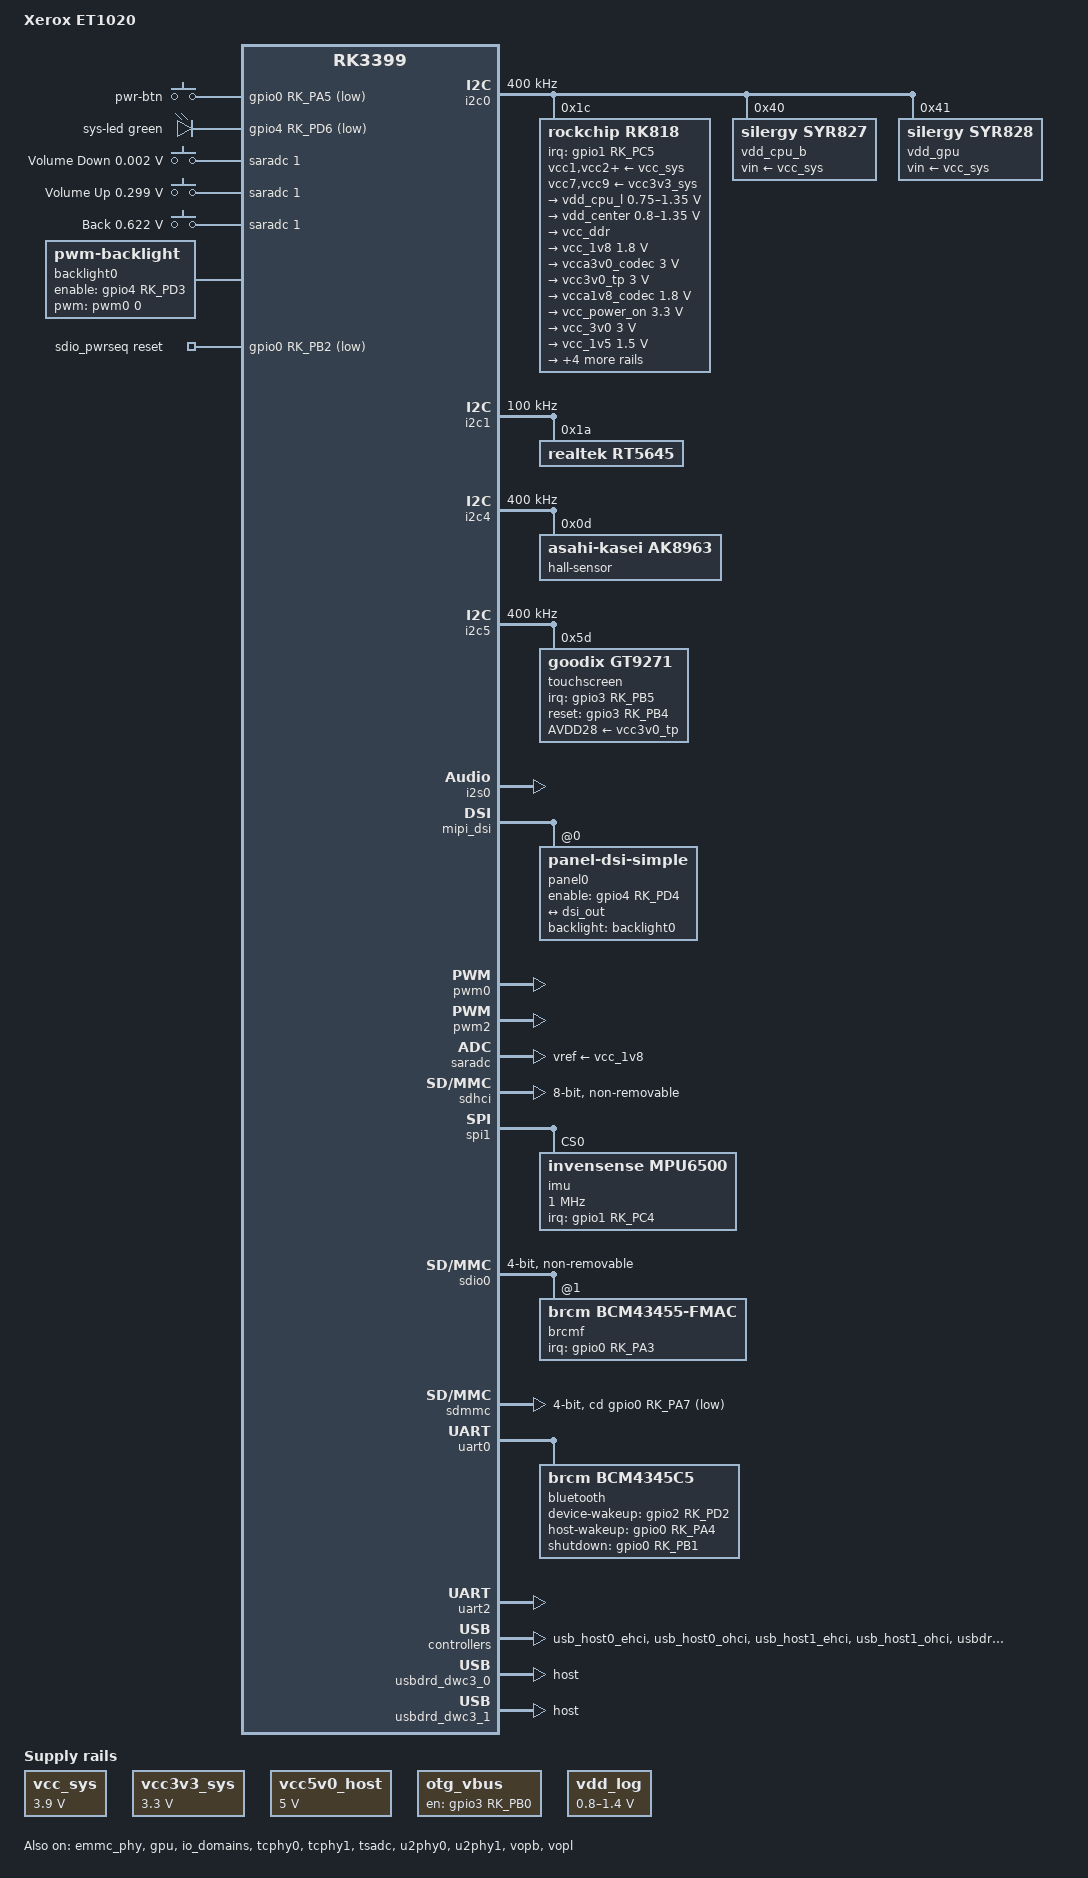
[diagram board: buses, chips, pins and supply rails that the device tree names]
// SPDX-License-Identifier: (GPL-2.0+ OR MIT)
/*
 * Copyright (c) 2017 Fuzhou Rockchip Electronics Co., Ltd.
 * Copyright (c) 2026 retro98boy <retro98boy@qq.com>
 */

/dts-v1/;

#include <dt-bindings/input/linux-event-codes.h>
#include <dt-bindings/pwm/pwm.h>
#include <dt-bindings/leds/common.h>
#include <dt-bindings/display/drm_mipi_dsi.h>
#include "rk3399.dtsi"

/ {
	model = "Xerox ET1020";
	compatible = "xerox,et1020", "rockchip,rk3399";

	aliases {
		mmc0 = &sdhci;
		mmc1 = &sdmmc;
	};

	chosen {
		stdout-path = "serial2:1500000n8";
	};

	gpio-keys {
		compatible = "gpio-keys";
		autorepeat;
		pinctrl-names = "default";
		pinctrl-0 = <&pwr_btn>;

		pwr-btn {
			debounce-interval = <100>;
			gpios = <&gpio0 RK_PA5 GPIO_ACTIVE_LOW>;
			label = "pwr-btn";
			linux,code = <KEY_POWER>;
			wakeup-source;
		};
	};

	gpio-leds {
		compatible = "gpio-leds";
		pinctrl-names = "default";
		pinctrl-0 = <&sys_led>;

		sys-led {
			function = LED_FUNCTION_STATUS;
			color = <LED_COLOR_ID_GREEN>;
			gpios = <&gpio4 RK_PD6 GPIO_ACTIVE_LOW>;
			linux,default-trigger = "heartbeat";
		};
	};

	adc-keys {
		compatible = "adc-keys";
		io-channels = <&saradc 1>;
		io-channel-names = "buttons";
		keyup-threshold-microvolt = <1800000>;
		poll-interval = <100>;

		button-volume-down {
			label = "Volume Down";
			linux,code = <KEY_VOLUMEDOWN>;
			press-threshold-microvolt = <1757>;
		};

		button-volume-up {
			label = "Volume Up";
			linux,code = <KEY_VOLUMEUP>;
			press-threshold-microvolt = <298828>;
		};

		button-back {
			label = "Back";
			linux,code = <KEY_BACK>;
			press-threshold-microvolt = <622265>;
		};
	};

	analog-sound {
		compatible = "simple-audio-card";
		simple-audio-card,name = "xerox-et1020";
		simple-audio-card,format = "i2s";
		simple-audio-card,mclk-fs = <256>;

		simple-audio-card,widgets =
			"Microphone", "Headset Mic",
			"Headphone", "Headphones",
			"Speaker", "Speakers";
		simple-audio-card,routing =
			"Headset Mic", "micbias1",
			"IN2P", "Headset Mic",
			"IN2N", "Headset Mic",
			"Headphones", "HPOL",
			"Headphones", "HPOR",
			"Speakers", "SPOL",
			"Speakers", "SPOR";

		simple-audio-card,cpu {
			sound-dai = <&i2s0>;
		};

		simple-audio-card,codec {
			sound-dai = <&rt5645>;
		};
	};

	backlight0: backlight0 {
		compatible = "pwm-backlight";
		enable-gpios = <&gpio4 RK_PD3 GPIO_ACTIVE_HIGH>;
		pwms = <&pwm0 0 25000 0>;
		brightness-levels = <
			255 200 199 198 197 197 196 195
			194 193 193 192 191 190 189 189
			188 187 186 185 185 184 183 182
			181 181 180 179 178 177 177 176
			175 174 173 173 172 171 170 169
			169 168 167 166 165 165 164 163
			162 161 161 160 159 158 157 157
			156 155 154 153 153 152 151 150
			149 149 148 147 146 145 145 144
			143 142 141 141 140 139 138 137
			137 136 135 134 133 133 132 131
			130 129 129 128 127 126 125 125
			124 123 122 121 121 120 119 118
			117 117 116 115 114 113 113 112
			111 110 109 109 108 107 106 105
			105 104 103 102 101 101 100  99
			 98  97  97  96  95  94  93  93
			 92  91  90  89  89  88  87  86
			 85  85  84  83  82  81  81  80
			 79  78  77  77  76  75  74  73
			 73  72  71  70  69  69  68  67
			 66  65  65  64  63  62  61  61
			 60  59  58  57  57  56  55  54
			 53  53  52  51  50  49  49  48
			 47  46  45  45  44  43  42  41
			 41  40  39  38  37  37  36  35
			 34  33  33  32  31  30  29  29
			 28  27  26  25  25  24  23  22
			 21  21  20  19  18  17  17  16
			 15  14  13  13  12  11  10   9
			  9   8   7   6   5   5   4   3
			  2   1   1   0   0   0   0   0>;
		default-brightness-level = <200>;
	};

	sdio_pwrseq: sdio-pwrseq {
		compatible = "mmc-pwrseq-simple";
		clocks = <&rk818 1>;
		clock-names = "ext_clock";
		pinctrl-names = "default";
		pinctrl-0 = <&wifi_enable_h>;
		reset-gpios = <&gpio0 RK_PB2 GPIO_ACTIVE_LOW>;
	};

	vcc_sys: regulator-vcc-sys {
		compatible = "regulator-fixed";
		regulator-name = "vcc_sys";
		regulator-always-on;
		regulator-boot-on;
		regulator-min-microvolt = <3900000>;
		regulator-max-microvolt = <3900000>;
	};

	vcc3v3_sys: regulator-vcc3v3-sys {
		compatible = "regulator-fixed";
		regulator-name = "vcc3v3_sys";
		regulator-always-on;
		regulator-boot-on;
		regulator-min-microvolt = <3300000>;
		regulator-max-microvolt = <3300000>;
	};

	vcc5v0_host: regulator-vcc5v0-host {
		compatible = "regulator-fixed";
		regulator-name = "vcc5v0_host";
		regulator-always-on;
		regulator-boot-on;
		regulator-min-microvolt = <5000000>;
		regulator-max-microvolt = <5000000>;
	};

	/* Micro USB */
	regulator-otg-vbus {
		compatible = "regulator-fixed";
		enable-active-high;
		gpio = <&gpio3 RK_PB0 GPIO_ACTIVE_HIGH>;
		pinctrl-names = "default";
		pinctrl-0 = <&otg_vbus_en>;
		regulator-name = "otg_vbus";
		regulator-always-on;
		regulator-boot-on;
	};

	vdd_log: regulator-vdd-log {
		compatible = "pwm-regulator";
		pwms = <&pwm2 0 25000 1>;
		regulator-name = "vdd_log";
		regulator-always-on;
		regulator-boot-on;
		regulator-min-microvolt = <800000>;
		regulator-max-microvolt = <1400000>;
	};
};

&cpu_l0 {
	cpu-supply = <&vdd_cpu_l>;
};

&cpu_l1 {
	cpu-supply = <&vdd_cpu_l>;
};

&cpu_l2 {
	cpu-supply = <&vdd_cpu_l>;
};

&cpu_l3 {
	cpu-supply = <&vdd_cpu_l>;
};

&cpu_b0 {
	cpu-supply = <&vdd_cpu_b>;
};

&cpu_b1 {
	cpu-supply = <&vdd_cpu_b>;
};

&emmc_phy {
	status = "okay";
};

&gpu {
	mali-supply = <&vdd_gpu>;
	status = "okay";
};

&i2c0 {
	clock-frequency = <400000>;
	i2c-scl-rising-time-ns = <168>;
	i2c-scl-falling-time-ns = <4>;
	status = "okay";

	rk818: pmic@1c {
		compatible = "rockchip,rk818";
		reg = <0x1c>;
		interrupt-parent = <&gpio1>;
		interrupts = <RK_PC5 IRQ_TYPE_LEVEL_LOW>;
		#clock-cells = <1>;
		clock-output-names = "xin32k", "rk808-clkout2";
		pinctrl-names = "default";
		pinctrl-0 = <&pmic_int_l>;
		system-power-controller;
		wakeup-source;

		vcc1-supply = <&vcc_sys>;
		vcc2-supply = <&vcc_sys>;
		vcc3-supply = <&vcc_sys>;
		vcc4-supply = <&vcc_sys>;
		vcc6-supply = <&vcc_sys>;
		vcc7-supply = <&vcc3v3_sys>;
		vcc8-supply = <&vcc_sys>;
		vcc9-supply = <&vcc3v3_sys>;

		regulators {
			vdd_cpu_l: DCDC_REG1 {
				regulator-name = "vdd_cpu_l";
				regulator-always-on;
				regulator-boot-on;
				regulator-min-microvolt = <750000>;
				regulator-max-microvolt = <1350000>;
				regulator-ramp-delay = <6001>;
				regulator-state-mem {
					regulator-off-in-suspend;
				};
			};

			vdd_center: DCDC_REG2 {
				regulator-name = "vdd_center";
				regulator-always-on;
				regulator-boot-on;
				regulator-min-microvolt = <800000>;
				regulator-max-microvolt = <1350000>;
				regulator-ramp-delay = <6001>;
				regulator-state-mem {
					regulator-off-in-suspend;
				};
			};

			vcc_ddr: DCDC_REG3 {
				regulator-name = "vcc_ddr";
				regulator-always-on;
				regulator-boot-on;
				regulator-state-mem {
					regulator-on-in-suspend;
				};
			};

			vcc_1v8: DCDC_REG4 {
				regulator-name = "vcc_1v8";
				regulator-always-on;
				regulator-boot-on;
				regulator-min-microvolt = <1800000>;
				regulator-max-microvolt = <1800000>;
				regulator-state-mem {
					regulator-on-in-suspend;
					regulator-suspend-microvolt = <1800000>;
				};
			};

			vcca3v0_codec: LDO_REG1 {
				regulator-name = "vcca3v0_codec";
				regulator-always-on;
				regulator-boot-on;
				regulator-min-microvolt = <3000000>;
				regulator-max-microvolt = <3000000>;
				regulator-state-mem {
					regulator-off-in-suspend;
				};
			};

			vcc3v0_tp: LDO_REG2 {
				regulator-name = "vcc3v0_tp";
				regulator-always-on;
				regulator-boot-on;
				regulator-min-microvolt = <3000000>;
				regulator-max-microvolt = <3000000>;
				regulator-state-mem {
					regulator-off-in-suspend;
				};
			};

			vcca1v8_codec: LDO_REG3 {
				regulator-name = "vcca1v8_codec";
				regulator-always-on;
				regulator-boot-on;
				regulator-min-microvolt = <1800000>;
				regulator-max-microvolt = <1800000>;
				regulator-state-mem {
					regulator-on-in-suspend;
					regulator-suspend-microvolt = <1800000>;
				};
			};

			vcc_power_on: LDO_REG4 {
				regulator-name = "vcc_power_on";
				regulator-always-on;
				regulator-boot-on;
				regulator-min-microvolt = <3300000>;
				regulator-max-microvolt = <3300000>;
				regulator-state-mem {
					regulator-on-in-suspend;
					regulator-suspend-microvolt = <3300000>;
				};
			};

			vcc_3v0: LDO_REG5 {
				regulator-name = "vcc_3v0";
				regulator-always-on;
				regulator-boot-on;
				regulator-min-microvolt = <3000000>;
				regulator-max-microvolt = <3000000>;
				regulator-state-mem {
					regulator-on-in-suspend;
					regulator-suspend-microvolt = <3000000>;
				};
			};

			vcc_1v5: LDO_REG6 {
				regulator-name = "vcc_1v5";
				regulator-always-on;
				regulator-boot-on;
				regulator-min-microvolt = <1500000>;
				regulator-max-microvolt = <1500000>;
				regulator-state-mem {
					regulator-on-in-suspend;
					regulator-suspend-microvolt = <1500000>;
				};
			};

			vcc1v8_dvp: LDO_REG7 {
				regulator-name = "vcc1v8_dvp";
				regulator-always-on;
				regulator-boot-on;
				regulator-min-microvolt = <1800000>;
				regulator-max-microvolt = <1800000>;
				regulator-state-mem {
					regulator-off-in-suspend;
				};
			};

			vcc3v3_s3: LDO_REG8 {
				regulator-name = "vcc3v3_s3";
				regulator-always-on;
				regulator-boot-on;
				regulator-min-microvolt = <3300000>;
				regulator-max-microvolt = <3300000>;
				regulator-state-mem {
					regulator-off-in-suspend;
				};
			};

			vcc_sd: LDO_REG9 {
				regulator-name = "vcc_sd";
				regulator-always-on;
				regulator-boot-on;
				regulator-min-microvolt = <1800000>;
				regulator-max-microvolt = <3300000>;
				regulator-state-mem {
					regulator-on-in-suspend;
					regulator-suspend-microvolt = <3300000>;
				};
			};

			vcc3v3_s0: SWITCH_REG {
				regulator-name = "vcc3v3_s0";
				regulator-always-on;
				regulator-boot-on;
				regulator-state-mem {
					regulator-on-in-suspend;
				};
			};
		};
	};

	vdd_cpu_b: regulator@40 {
		compatible = "silergy,syr827";
		reg = <0x40>;
		fcs,suspend-voltage-selector = <1>;
		pinctrl-names = "default";
		pinctrl-0 = <&vsel1_pin>;
		regulator-name = "vdd_cpu_b";
		regulator-min-microvolt = <712500>;
		regulator-max-microvolt = <1500000>;
		regulator-ramp-delay = <1000>;
		regulator-always-on;
		regulator-boot-on;
		vin-supply = <&vcc_sys>;

		regulator-state-mem {
			regulator-off-in-suspend;
		};
	};

	vdd_gpu: regulator@41 {
		compatible = "silergy,syr828";
		reg = <0x41>;
		fcs,suspend-voltage-selector = <1>;
		pinctrl-names = "default";
		pinctrl-0 = <&vsel2_pin>;
		regulator-name = "vdd_gpu";
		regulator-min-microvolt = <735000>;
		regulator-max-microvolt = <1500000>;
		regulator-ramp-delay = <1000>;
		regulator-always-on;
		regulator-boot-on;
		vin-supply = <&vcc_sys>;

		regulator-state-mem {
			regulator-off-in-suspend;
		};
	};
};

&i2c1 {
	status = "okay";
	clock-frequency = <100000>;
	i2c-scl-rising-time-ns = <140>;
	i2c-scl-falling-time-ns = <30>;

	rt5645: audio-codec@1a {
		compatible = "realtek,rt5645";
		reg = <0x1a>;
		clocks = <&cru SCLK_I2S_8CH_OUT>;
		clock-names = "mclk";
		#sound-dai-cells = <0>;
	};
};

&i2c4 {
	status = "okay";
	clock-frequency = <400000>;
	i2c-scl-rising-time-ns = <345>;
	i2c-scl-falling-time-ns = <11>;

	hall-sensor@d {
		compatible = "asahi-kasei,ak8963";
		reg = <0x0d>;
	};
};

&i2c5 {
	status = "okay";
	clock-frequency = <400000>;
	i2c-scl-rising-time-ns = <150>;
	i2c-scl-falling-time-ns = <30>;

	touchscreen@5d {
		compatible = "goodix,gt9271";
		reg = <0x5d>;
		interrupt-parent = <&gpio3>;
		interrupts = <RK_PB5 IRQ_TYPE_EDGE_FALLING>;
		pinctrl-names = "default";
		pinctrl-0 = <&tp_int_l &tp_rst>;
		AVDD28-supply = <&vcc3v0_tp>;
		irq-gpios = <&gpio3 RK_PB5 GPIO_ACTIVE_HIGH>;
		reset-gpios = <&gpio3 RK_PB4 GPIO_ACTIVE_HIGH>; /* GT9271 reset when PB4 low */
	};
};

&i2s0 {
	rockchip,capture-channels = <2>;
	rockchip,playback-channels = <2>;
	status = "okay";
};

&io_domains {
	bt656-supply = <&vcc1v8_dvp>;
	audio-supply = <&vcca1v8_codec>;
	sdmmc-supply = <&vcc_sd>;
	gpio1830-supply = <&vcc_3v0>;
	status = "okay";
};

&mipi_dsi {
	clock-master;
	#address-cells = <1>;
	#size-cells = <0>;
	status = "okay";

	panel0: panel@0 {
		compatible = "panel-dsi-simple";
		reg = <0>;

		enable-gpios = <&gpio4 RK_PD4 GPIO_ACTIVE_HIGH>;
		backlight = <&backlight0>;
		reset-delay-ms = <200>;
		enable-delay-ms = <100>;
		prepare-delay-ms = <20>;
		unprepare-delay-ms = <20>;
		disable-delay-ms = <20>;
		init-delay-ms = <120>;

		dsi,flags = <(MIPI_DSI_MODE_VIDEO | MIPI_DSI_MODE_VIDEO_BURST |
				MIPI_DSI_MODE_LPM | MIPI_DSI_MODE_NO_EOT_PACKET)>;
		dsi,format = <MIPI_DSI_FMT_RGB888>;
		dsi,lanes  = <4>;
		width-mm = <218>;
		height-mm = <137>;
		rotation = <0>;

		panel-init-sequence = [
		];

		panel-exit-sequence = [
		];

		disp_timings: display-timings {
			native-mode = <&dsi_timing0>;
			dsi_timing0: timing0 {
				clock-frequency = <150000000>; /* (h_total * v_total * fps) pixel/s */

				hactive = <1920>;
				hfront-porch = <46>;
				hback-porch = <11>;
				hsync-len = <16>;

				vactive = <1200>;
				vfront-porch = <10>;
				vback-porch = <5>;
				vsync-len = <10>;

				hsync-active = <0>;
				vsync-active = <0>;
				de-active = <0>;
				pixelclk-active = <0>;

				swap-rb = <0>;
				swap-rg = <0>;
				swap-gb = <0>;
			};
		};

		ports {
			#address-cells = <1>;
			#size-cells = <0>;

			port@0 {
				reg = <0>;
				panel_in: endpoint {
					remote-endpoint = <&dsi_out>;
				};
			};
		};
	};
};

&mipi_out {
	dsi_out: endpoint {
		remote-endpoint = <&panel_in>;
	};
};

&pinctrl {
	buttons {
		pwr_btn: pwr-btn {
			rockchip,pins = <0 RK_PA5 RK_FUNC_GPIO &pcfg_pull_up>;
		};
	};

	bt {
		bt_enable_h: bt-enable-h {
			rockchip,pins = <0 RK_PB1 RK_FUNC_GPIO &pcfg_pull_none>;
		};

		bt_host_wake_l: bt-host-wake-l {
			rockchip,pins = <0 RK_PA4 RK_FUNC_GPIO &pcfg_pull_none>;
		};

		bt_wake_l: bt-wake-l {
			rockchip,pins = <2 RK_PD2 RK_FUNC_GPIO &pcfg_pull_none>;
		};
	};

	leds {
		sys_led: sys-led {
			rockchip,pins = <4 RK_PD6 RK_FUNC_GPIO &pcfg_pull_none>;
		};
	};

	pmic {
		pmic_int_l: pmic-int-l {
			rockchip,pins = <1 RK_PC5 RK_FUNC_GPIO &pcfg_pull_up>;
		};

		vsel1_pin: vsel1-pin {
			rockchip,pins = <1 RK_PC1 RK_FUNC_GPIO &pcfg_pull_down>;
		};

		vsel2_pin: vsel2-pin {
			rockchip,pins = <1 RK_PB6 RK_FUNC_GPIO &pcfg_pull_down>;
		};
	};

	tp {
		tp_int_l: tp-int-l {
			rockchip,pins = <3 RK_PB5 RK_FUNC_GPIO &pcfg_pull_up>;
		};

		tp_rst: tp-rst {
			rockchip,pins = <3 RK_PB4 RK_FUNC_GPIO &pcfg_pull_none>;
		};
	};

	usb {
		otg_vbus_en: otg-vbus-en {
			rockchip,pins = <3 RK_PB0 RK_FUNC_GPIO &pcfg_pull_none>;
		};
	};

	wifi {
		wifi_enable_h: wifi-enable-h {
			rockchip,pins = <0 RK_PB2 RK_FUNC_GPIO &pcfg_pull_none>;
		};

		wifi_host_wake_l: wifi-host-wake-l {
			rockchip,pins = <0 RK_PA3 RK_FUNC_GPIO &pcfg_pull_none>;
		};
	};
};

&pmu_io_domains {
	pmu1830-supply = <&vcc_1v8>;
	status = "okay";
};

&pwm0 {
	status = "okay";
};

&pwm2 {
	status = "okay";
};

&saradc {
	vref-supply = <&vcc_1v8>;
	status = "okay";
};

&sdhci {
	max-frequency = <150000000>;
	bus-width = <8>;
	mmc-hs400-1_8v;
	mmc-hs400-enhanced-strobe;
	non-removable;
	status = "okay";
};

&spi1 {
	status = "okay";

	imu@0 {
		compatible = "invensense,mpu6500";
		reg = <0x0>;
		spi-max-frequency = <1000000>;
		spi-cpha;
		spi-cpol;
		interrupt-parent = <&gpio1>;
		interrupts = <RK_PC4 IRQ_TYPE_LEVEL_LOW>;
	};
};

&sdio0 {
	bus-width = <4>;
	clock-frequency = <50000000>;
	cap-sdio-irq;
	cap-sd-highspeed;
	keep-power-in-suspend;
	mmc-pwrseq = <&sdio_pwrseq>;
	non-removable;
	pinctrl-names = "default";
	pinctrl-0 = <&sdio0_bus4 &sdio0_cmd &sdio0_clk>;
	#address-cells = <1>;
	#size-cells = <0>;
	status = "okay";

	brcmf: wifi@1 {
		compatible = "brcm,bcm43455-fmac";
		reg = <1>;
		interrupt-parent = <&gpio0>;
		interrupts = <RK_PA3 IRQ_TYPE_LEVEL_HIGH>;
		interrupt-names = "host-wake";
		pinctrl-names = "default";
		pinctrl-0 = <&wifi_host_wake_l>;
	};
};

&sdmmc {
	bus-width = <4>;
	cap-mmc-highspeed;
	cap-sd-highspeed;
	cd-gpios = <&gpio0 RK_PA7 GPIO_ACTIVE_LOW>;
	disable-wp;
	max-frequency = <150000000>;
	pinctrl-names = "default";
	pinctrl-0 = <&sdmmc_clk &sdmmc_cd &sdmmc_cmd &sdmmc_bus4>;
	vqmmc-supply = <&vcc_sd>;
	sd-uhs-sdr104;
	status = "okay";
};

&tcphy0 {
	status = "okay";
};

&tcphy1 {
	status = "okay";
};

&tsadc {
	/* tshut mode 0:CRU 1:GPIO */
	rockchip,hw-tshut-mode = <1>;
	/* tshut polarity 0:LOW 1:HIGH */
	rockchip,hw-tshut-polarity = <1>;
	status = "okay";
};

&u2phy0 {
	status = "okay";

	u2phy0_otg: otg-port {
		status = "okay";
	};

	u2phy0_host: host-port {
		phy-supply = <&vcc5v0_host>;
		status = "okay";
	};
};

&u2phy1 {
	status = "okay";

	u2phy1_otg: otg-port {
		status = "okay";
	};

	u2phy1_host: host-port {
		phy-supply = <&vcc5v0_host>;
		status = "okay";
	};
};

&uart0 {
	pinctrl-names = "default";
	pinctrl-0 = <&uart0_xfer &uart0_cts &uart0_rts>;
	status = "okay";

	bluetooth {
		compatible = "brcm,bcm4345c5";
		clocks = <&rk818 1>;
		clock-names = "lpo";
		device-wakeup-gpios = <&gpio2 RK_PD2 GPIO_ACTIVE_HIGH>;
		host-wakeup-gpios = <&gpio0 RK_PA4 GPIO_ACTIVE_HIGH>;
		shutdown-gpios = <&gpio0 RK_PB1 GPIO_ACTIVE_HIGH>;
		pinctrl-names = "default";
		pinctrl-0 = <&bt_host_wake_l &bt_wake_l &bt_enable_h>;
	};
};

&uart2 {
	status = "okay";
};

&usb_host0_ehci {
	status = "okay";
};

&usb_host0_ohci {
	status = "okay";
};

&usb_host1_ehci {
	status = "okay";
};

&usb_host1_ohci {
	status = "okay";
};

&usbdrd3_0 {
	status = "okay";
};

&usbdrd_dwc3_0 {
	dr_mode = "host";
	status = "okay";
};

&usbdrd3_1 {
	status = "okay";
};

&usbdrd_dwc3_1 {
	dr_mode = "host";
	status = "okay";
};

&vopb {
	status = "okay";
};

&vopb_mmu {
	status = "okay";
};

&vopl {
	status = "okay";
};

&vopl_mmu {
	status = "okay";
};
